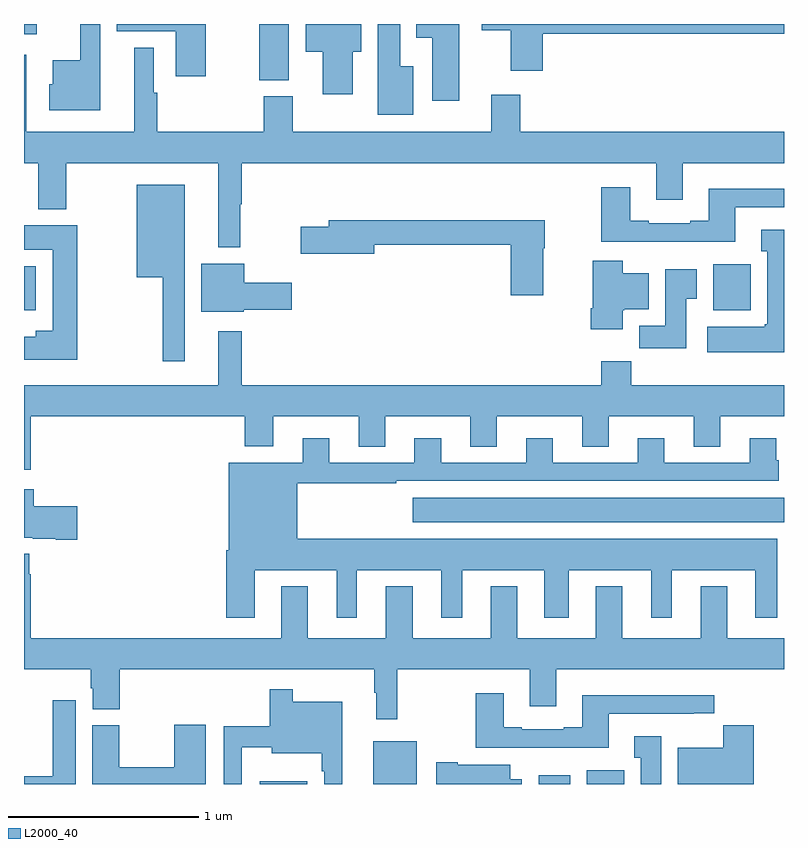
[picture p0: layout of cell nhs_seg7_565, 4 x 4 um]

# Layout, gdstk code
import gdstk
lib = gdstk.Library(unit=1e-6, precision=1e-09)
def R(c, l, rs):  # rectangles x0, y0, x1, y1
    for r in rs: c.add(gdstk.rectangle(r[:2], r[2:], *l))
def P(c, l, *ps):  # polygons
    for p in ps: c.add(gdstk.Polygon(p, *l))
L2000_40 = (2000, 40)

nhs_seg7_565 = lib.new_cell('nhs_seg7_565')
R(nhs_seg7_565, L2000_40, [(156.242,1012,156.49,1012.015), (156.839,1012,157.066,1012.225), (157.709,1012,157.876,1012.045), (157.961,1012,158.158,1012.072), (157.047,1013.378,159,1013.506), (155,1014.494,155.062,1014.724), (158.627,1014.494,158.824,1014.736), (156.239,1015.705,156.394,1016), (155,1015.947,155.068,1016)])
P(nhs_seg7_565, L2000_40, [(156.73,1015.853),(156.775,1015.853),(156.775,1016),(156.482,1016),(156.482,1015.853),(156.572,1015.853),(156.572,1015.629),(156.73,1015.629)],
  [(155.401,1016),(155.297,1016),(155.297,1015.81),(155.15,1015.81),(155.15,1015.683),(155.132,1015.683),(155.132,1015.547),(155.401,1015.547)],
  [(155.956,1016),(155.489,1016),(155.489,1015.961),(155.798,1015.961),(155.798,1015.725),(155.956,1015.725)],
  [(157.291,1016),(157.064,1016),(157.064,1015.928),(157.148,1015.928),(157.148,1015.596),(157.291,1015.596)],
  [(157.73,1015.948),(159,1015.948),(159,1016),(157.41,1016),(157.41,1015.966),(157.562,1015.966),(157.562,1015.755),(157.73,1015.755)],
  [(157.048,1015.777),(156.979,1015.777),(156.979,1016),(156.863,1016),(156.863,1015.523),(157.048,1015.523)],
  [(156.137,1015.052),(156.145,1015.052),(156.145,1015.268),(158.327,1015.268),(158.327,1015.074),(158.467,1015.074),(158.467,1015.268),(159,1015.268),(159,1015.432),(157.613,1015.432),(157.613,1015.627),(157.46,1015.627),(157.46,1015.432),(156.415,1015.432),(156.415,1015.62),(156.263,1015.62),(156.263,1015.432),(155.701,1015.432),(155.701,1015.637),(155.683,1015.637),(155.683,1015.876),(155.579,1015.876),(155.579,1015.432),(155.013,1015.432),(155.013,1015.837),(155,1015.837),(155,1015.268),(155.075,1015.268),(155.075,1015.025),(155.223,1015.025),(155.223,1015.268),(156.023,1015.268),(156.023,1014.824),(156.137,1014.824)],
  [(155.845,1015.153),(155.594,1015.153),(155.594,1014.668),(155.731,1014.668),(155.731,1014.225),(155.845,1014.225)],
  [(158.743,1015.035),(159,1015.035),(159,1015.132),(158.603,1015.132),(158.603,1014.964),(158.507,1014.964),(158.507,1014.951),(158.287,1014.951),(158.287,1014.964),(158.191,1014.964),(158.191,1015.141),(158.039,1015.141),(158.039,1014.854),(158.743,1014.854)],
  [(157.732,1014.821),(157.74,1014.821),(157.74,1014.967),(156.605,1014.967),(156.605,1014.933),(156.456,1014.933),(156.456,1014.791),(156.844,1014.791),(156.844,1014.838),(157.562,1014.838),(157.562,1014.573),(157.732,1014.573)],
  [(155.28,1014.94),(155,1014.94),(155,1014.812),(155.15,1014.812),(155.15,1014.385),(155.063,1014.385),(155.063,1014.355),(155,1014.355),(155,1014.233),(155.28,1014.233)],
  [(159,1014.916),(158.879,1014.916),(158.879,1014.803),(158.912,1014.803),(158.912,1014.42),(158.899,1014.42),(158.899,1014.406),(158.595,1014.406),(158.595,1014.272),(159,1014.272)],
  [(158.152,1014.494),(158.158,1014.494),(158.158,1014.5),(158.287,1014.5),(158.287,1014.688),(158.152,1014.688),(158.152,1014.754),(157.994,1014.754),(157.994,1014.505),(157.982,1014.505),(157.982,1014.393),(158.152,1014.393)],
  [(156.156,1014.496),(156.409,1014.496),(156.409,1014.638),(156.16,1014.638),(156.16,1014.739),(155.933,1014.739),(155.933,1014.485),(156.156,1014.485)],
  [(158.485,1014.553),(158.542,1014.553),(158.542,1014.709),(158.375,1014.709),(158.375,1014.412),(158.237,1014.412),(158.237,1014.294),(158.485,1014.294)],
  [(155.035,1013.936),(156.161,1013.936),(156.161,1013.777),(156.313,1013.777),(156.313,1013.936),(156.761,1013.936),(156.761,1013.776),(156.901,1013.776),(156.901,1013.936),(157.349,1013.936),(157.349,1013.776),(157.489,1013.776),(157.489,1013.936),(157.937,1013.936),(157.937,1013.776),(158.077,1013.776),(158.077,1013.936),(158.525,1013.936),(158.525,1013.776),(158.665,1013.776),(158.665,1013.936),(159,1013.936),(159,1014.1),(158.195,1014.1),(158.195,1014.224),(158.039,1014.224),(158.039,1014.1),(156.145,1014.1),(156.145,1014.382),(156.023,1014.382),(156.023,1014.1),(155,1014.1),(155,1013.655),(155.035,1013.655)],
  [(156.214,1013.126),(156.647,1013.126),(156.647,1012.875),(156.751,1012.875),(156.751,1013.126),(157.196,1013.126),(157.196,1012.875),(157.306,1012.875),(157.306,1013.126),(157.739,1013.126),(157.739,1012.875),(157.867,1012.875),(157.867,1013.126),(158.3,1013.126),(158.3,1012.875),(158.41,1012.875),(158.41,1013.126),(158.849,1013.126),(158.849,1012.875),(158.965,1012.875),(158.965,1013.29),(156.439,1013.29),(156.439,1013.583),(156.959,1013.583),(156.959,1013.595),(158.972,1013.595),(158.972,1013.703),(158.959,1013.703),(158.959,1013.821),(158.819,1013.821),(158.819,1013.691),(158.371,1013.691),(158.371,1013.821),(158.231,1013.821),(158.231,1013.691),(157.783,1013.691),(157.783,1013.821),(157.643,1013.821),(157.643,1013.691),(157.195,1013.691),(157.195,1013.821),(157.055,1013.821),(157.055,1013.691),(156.607,1013.691),(156.607,1013.821),(156.467,1013.821),(156.467,1013.692),(156.077,1013.692),(156.077,1013.23),(156.065,1013.23),(156.065,1012.875),(156.214,1012.875)],
  [(155.281,1013.463),(155.05,1013.463),(155.05,1013.551),(155,1013.551),(155,1013.297),(155.046,1013.297),(155.046,1013.291),(155.168,1013.291),(155.168,1013.285),(155.281,1013.285)],
  [(156.964,1012.604),(157.661,1012.604),(157.661,1012.41),(157.801,1012.41),(157.801,1012.604),(159,1012.604),(159,1012.768),(158.701,1012.768),(158.701,1013.041),(158.561,1013.041),(158.561,1012.768),(158.149,1012.768),(158.149,1013.041),(158.009,1013.041),(158.009,1012.768),(157.597,1012.768),(157.597,1013.041),(157.457,1013.041),(157.457,1012.768),(157.045,1012.768),(157.045,1013.041),(156.905,1013.041),(156.905,1012.768),(156.493,1012.768),(156.493,1013.041),(156.353,1013.041),(156.353,1012.768),(155.035,1012.768),(155.035,1013.105),(155.027,1013.105),(155.027,1013.212),(155,1013.212),(155,1012.604),(155.351,1012.604),(155.351,1012.503),(155.363,1012.503),(155.363,1012.393),(155.504,1012.393),(155.504,1012.604),(156.843,1012.604),(156.843,1012.481),(156.854,1012.481),(156.854,1012.341),(156.964,1012.341)],
  [(156.147,1012.193),(156.305,1012.193),(156.305,1012.163),(156.567,1012.163),(156.567,1012.067),(156.579,1012.067),(156.579,1012),(156.676,1012),(156.676,1012.432),(156.415,1012.432),(156.415,1012.498),(156.294,1012.498),(156.294,1012.303),(156.051,1012.303),(156.051,1012),(156.147,1012)],
  [(158.077,1012.371),(158.525,1012.371),(158.525,1012.373),(158.634,1012.373),(158.634,1012.468),(157.937,1012.468),(157.937,1012.3),(157.841,1012.3),(157.841,1012.287),(157.621,1012.287),(157.621,1012.3),(157.525,1012.3),(157.525,1012.477),(157.378,1012.477),(157.378,1012.19),(158.077,1012.19)],
  [(155.272,1012.441),(155.15,1012.441),(155.15,1012.042),(155,1012.042),(155,1012),(155.272,1012)],
  [(155.956,1012.312),(155.791,1012.312),(155.791,1012.088),(155.502,1012.088),(155.502,1012.308),(155.36,1012.308),(155.36,1012),(155.956,1012)],
  [(158.842,1012.308),(158.681,1012.308),(158.681,1012.192),(158.441,1012.192),(158.441,1012),(158.842,1012)],
  [(158.353,1012.252),(158.213,1012.252),(158.213,1012.139),(158.246,1012.139),(158.246,1012),(158.353,1012)],
  [(157.621,1012.024),(157.558,1012.024),(157.558,1012.102),(157.282,1012.102),(157.282,1012.115),(157.17,1012.115),(157.17,1012),(157.621,1012)])

lib.write_gds('nhs_seg7_565.gds')
